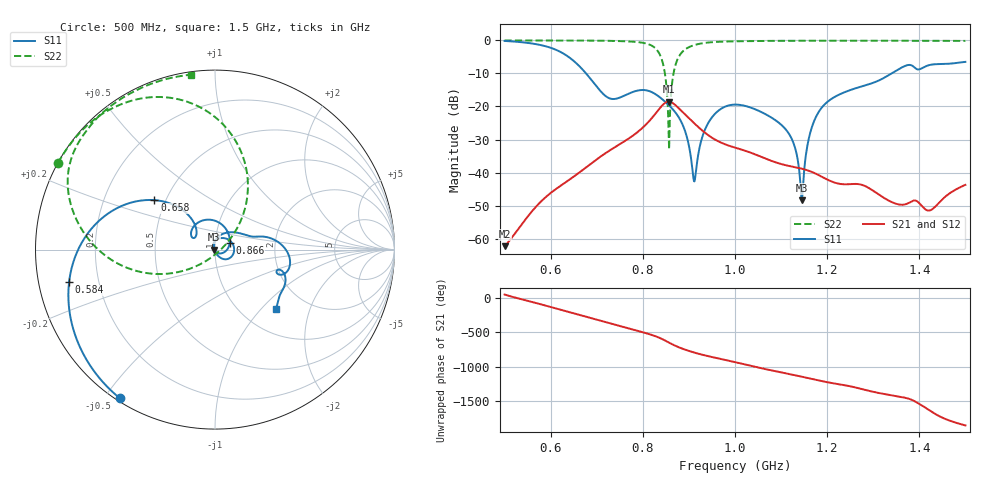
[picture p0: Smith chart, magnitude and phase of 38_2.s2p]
! TOUCHSTONE file generated by CST MICROWAVE STUDIO
! Date and time: Fri Oct  2 16:19:07 2020
! Project name: Scenario_1_Free_Space_out_of_line.cst
! Parameters = {Lambda=346.42; Step_1=17.321; dy1=-293.977; dx1=346; L_HA=400; MT=2.54; Rad_Dielectric=30; Rad_Lower=7.3; Rad_Upper=30; a_HA=580; a_WG=246; b_HA=500; b_WG=121; c_HA=0; c_WG=187; d_feed=85; h_feed=15; h_lower=18; h_upper=40}
! Header version: 2018
! Port assignment regex: !\s*Touchstone port\s*([0-9]+)\s*=\s*(CST MWS port|CST DS port)\s*([0-9]+|Zmin|Zmax)\s*\(\"(.*)\"\)(\s*mode\s*([0-9]+))?.*
! Touchstone port assignment:
! Touchstone port 1 = CST MWS port 1 ("")
! Touchstone port 2 = CST MWS port 2 ("")
# GHz S DB R 50
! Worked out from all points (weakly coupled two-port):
!   1003 points, 500 MHz to 1.5 GHz, reference 50 ohm
!   highest |S21| = -18.55 dB at 856 MHz (marker M1); lowest = -62.3 dB at 500 MHz (marker M2)
!   lowest |S11| = -48.4 dB at 1.145 GHz (marker M3), VSWR 1.01, Z = 49.6 - j0.106 ohm
!   |S11| at or under -10 dB: 676.8 MHz to 1.339 GHz (662.6 MHz wide, 65.7 % of centre)
!   |S22| runs from -33.0 to 0.0 dB; largest |S21 - S12| = 5.3e-05
!   S11 on the Smith chart (normalised r, x): 500 MHz: 0.01, -0.55; 584 MHz: 0.09, -0.11; 658 MHz: 0.43, +0.30; 866 MHz: 1.17, +0.08; 1.5 GHz: 1.41, -1.21
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0.5  -0.15 -122.7  -62.29 55.3  -62.29 55.3  -0.01 151.1
0.584  -1.58 -167.4  -48.09 -97.5  -48.09 -97.5  -0.02 145.3
0.658  -7.22 140.8  -40.42 124.3  -40.42 124.3  -0.04 139.2
0.667  -8.48 135.6  -39.48 108.0  -39.48 108.0  -0.04 138.3
0.728  -17.54 141.5  -33.31 -5.3  -33.30 -5.3  -0.12 131.0
0.793  -15.07 129.4  -27.23 -123.2  -27.23 -123.2  -0.57 115.8
0.834  -16.90 73.2  -21.00 148.0  -21.00 148.0  -3.55 83.3
0.846  -18.27 55.3  -19.15 110.7  -19.16 110.7  -8.50 60.9
0.856  -19.55 39.9  -18.55 74.9  -18.55 74.9  -28.68 7.0
0.866  -21.01 23.4  -19.08 39.9  -19.08 39.9  -10.44 -153.4
0.892  -27.59 -29.5  -22.45 -31.4  -22.45 -31.4  -2.70 173.0
0.912  -42.69 -153.8  -25.15 -74.2  -25.15 -74.2  -1.39 161.6
0.943  -24.73 77.9  -28.79 -128.1  -28.79 -128.1  -0.61 150.9
1  -19.43 1.0  -32.45 146.6  -32.45 146.6  -0.26 140.2
1.11  -26.91 -60.6  -37.78 -16.8  -37.77 -16.8  -0.11 128.8
1.13  -32.35 -73.6  -38.37 -45.0  -38.37 -45.0  -0.10 127.2
1.145  -48.37 -163.7  -38.83 -67.3  -38.83 -67.3  -0.10 125.9
1.167  -26.20 88.2  -39.82 -101.2  -39.82 -101.2  -0.10 124.2
1.208  -17.82 48.8  -42.61 -157.2  -42.61 -157.2  -0.09 121.0
1.334  -10.46 13.2  -48.52 28.1  -48.52 28.1  -0.09 111.5
1.423  -7.42 -22.7  -51.46 157.4  -51.46 157.4  -0.11 104.4
1.5  -6.49 -44.6  -43.72 -60.0  -43.72 -59.8  -0.14 97.9
